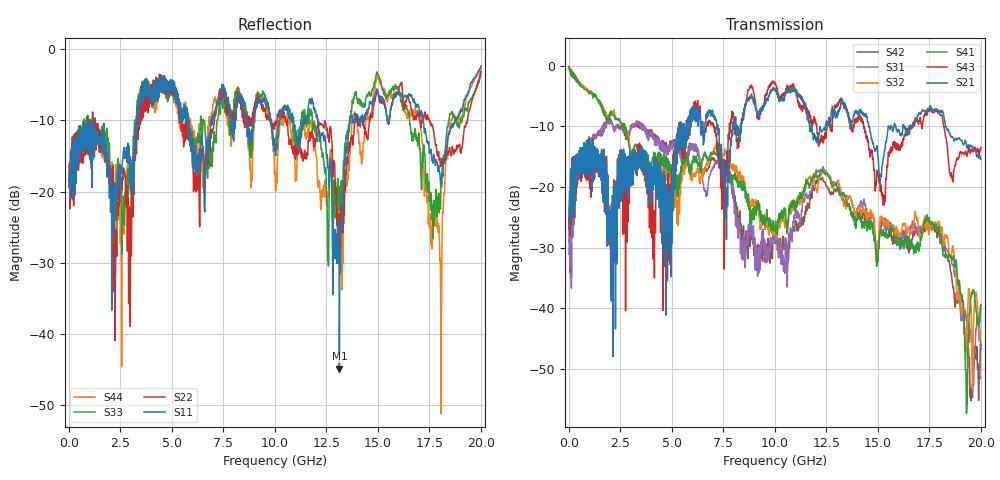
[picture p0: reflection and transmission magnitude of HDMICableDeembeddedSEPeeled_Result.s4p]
! File created by SignalIntegrity v1.4.3: Signal and Power Integrity Tools
! https://github.com/Nubis-Communications/SignalIntegrity
# MHz S MA R 50.0
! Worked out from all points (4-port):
!   2000 points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, 10 MHz to 20 GHz, reference 50 ohm
!   strongest paths, dB at 10 MHz, 5.01 GHz, 10.01 GHz, 15.01 GHz, 20 GHz:
!     S21: -26.0, -29.4, -3.9, -15.2, -15.5
!     S43: -26.9, -21.8, -2.9, -17.6, -13.5
!     S41: -0.1, -18.5, -26.8, -31.5, -39.5
!     S32: -0.2, -21.0, -27.2, -29.3, -39.5
!     S31: -29.0, -13.2, -29.0, -29.3, -46.1
!     S42: -31.1, -13.2, -29.1, -30.6, -46.6
!   lowest |S11| = -44.9 dB at 13.13 GHz (marker M1), VSWR 1.01, Z = 50.4 + j0.357 ohm
!   |S11| at or under -10 dB: 1.153 GHz to 3.295 GHz (2.143 GHz wide, 96.4 % of centre); 12.1 GHz to 13.67 GHz (1.573 GHz wide, 12.2 % of centre); 17.19 GHz to 18.74 GHz (1.55 GHz wide, 8.63 % of centre)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
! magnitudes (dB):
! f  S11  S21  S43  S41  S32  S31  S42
! 10 MHz  -19.4  -26.0  -26.9  -0.1  -0.2  -29.0  -31.1
! 1.92 GHz  -17.9  -26.2  -25.8  -8.6  -8.3  -9.4  -8.9
! 11.76 GHz  -7.6  -10.6  -9.6  -18.6  -18.5  -20.8  -21.2
! 13.13 GHz  -44.9  -7.5  -5.9  -20.6  -19.6  -20.1  -21.2
! 15.03 GHz  -6.3  -16.0  -17.8  -30.0  -28.9  -30.2  -29.7
! 18.02 GHz  -17.8  -7.5  -8.2  -28.7  -27.1  -28.4  -29.3
! 20 GHz  -2.4  -15.5  -13.5  -39.5  -39.5  -46.1  -46.6
